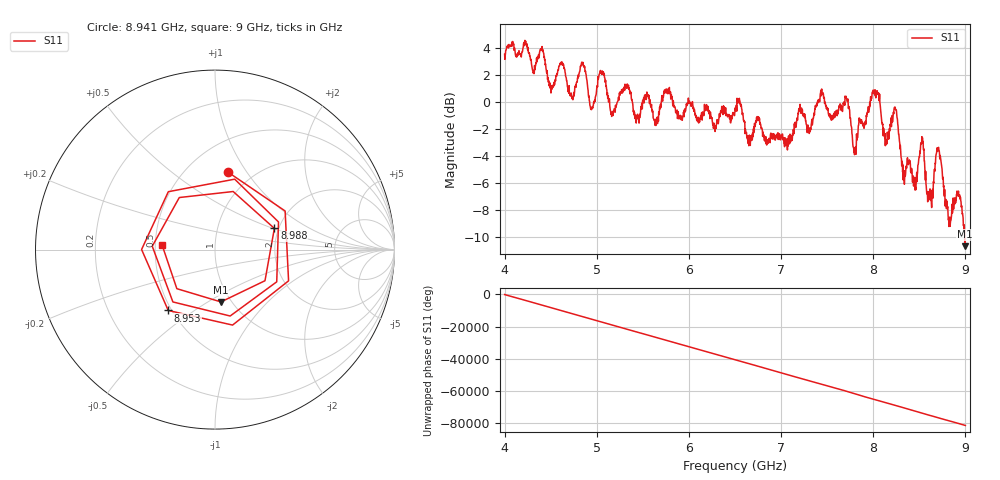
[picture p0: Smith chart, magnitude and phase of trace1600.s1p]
! Created with skrf 1.8.0 (http://scikit-rf.org).
# Hz S RI R 50.0
!freq ReS11 ImS11
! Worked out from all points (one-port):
!   1601 points, 4 GHz to 9 GHz, reference 50 ohm
!   lowest |S11| = -10.7 dB at 8.994 GHz (marker M1), VSWR 1.83, Z = 44.8 - j28.6 ohm
!   |S11| at or under -10 dB: 8.991987 GHz to end of sweep
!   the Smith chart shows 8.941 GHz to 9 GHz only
!   S11 on the Smith chart (normalised r, x): 8.941 GHz: 0.77, +0.82; 8.953 GHz: 0.48, -0.40; 8.988 GHz: 1.90, +0.51; 9 GHz: 0.54, +0.03
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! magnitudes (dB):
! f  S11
! 4 GHz  3.5
! 4.625 GHz  3.0
! 4.728 GHz  0.5
! 4.844 GHz  2.8
! 4.944 GHz  -0.5
! 5.05 GHz  2.2
! 5.166 GHz  -0.8
! 5.25 GHz  0.5
! 5.875 GHz  -1.2
! 6.5 GHz  -0.7
! 7.125 GHz  -2.3
! 7.444 GHz  0.6
! 7.75 GHz  -1.2
! 7.803 GHz  -3.7
! 8.044 GHz  0.6
! 8.125 GHz  -2.7
! 8.241 GHz  -0.5
! 8.375 GHz  -4.5
! 8.45 GHz  -5.6
! 8.531 GHz  -2.9
! 8.616 GHz  -6.4
! 8.706 GHz  -3.4
! 8.819 GHz  -8.6
! 8.941 GHz  -7.2
! 8.953 GHz  -7.4
! 8.988 GHz  -9.1
! 8.994 GHz  -10.7
! 9 GHz  -10.6
